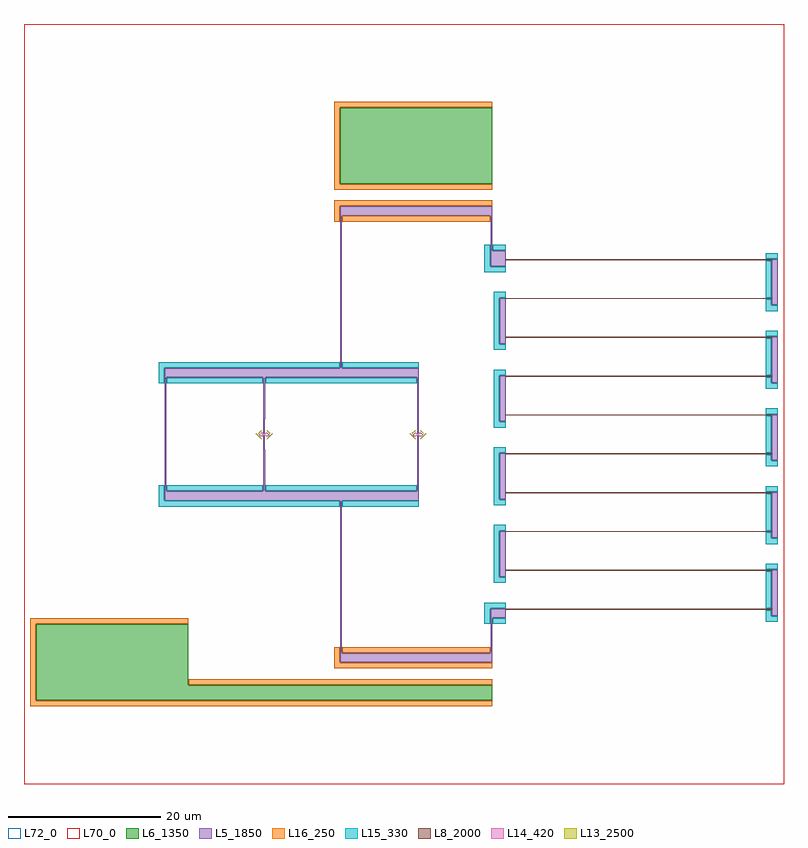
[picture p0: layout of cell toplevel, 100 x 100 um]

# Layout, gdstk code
from math import pi, radians
import gdstk
lib = gdstk.Library(unit=1e-6, precision=1e-09)
def R(c, l, rs):  # rectangles x0, y0, x1, y1
    for r in rs: c.add(gdstk.rectangle(r[:2], r[2:], *l))
def A(c, l, x, y, w, h, nx, ny, dx, dy):  # array of equal rectangles
    R(c, l, [(x+i*dx, y+j*dy, x+i*dx+w, y+j*dy+h) for i in range(nx) for j in range(ny)])
def P(c, l, *ps):  # polygons
    for p in ps: c.add(gdstk.Polygon(p, *l))
L5_1850 = (5, 1850)
L6_1350 = (6, 1350)
L8_2000 = (8, 2000)
L13_2500 = (13, 2500)
L14_420 = (14, 420)
L15_330 = (15, 330)
L16_250 = (16, 250)
L70_0 = (70, 0)
L72_0 = (72, 0)

rectangle059 = lib.new_cell('rectangle059')
R(rectangle059, L5_1850, [(0,0,0.2,1.8)])

jj_top = lib.new_cell('JJ Top')
jj_top.add(gdstk.Reference(rectangle059, (-0.1,0.2)))

rectangle060 = lib.new_cell('rectangle060')
R(rectangle060, L5_1850, [(0,0,0.2,1.8)])

jj_bot = lib.new_cell('JJ Bot')
jj_bot.add(gdstk.Reference(rectangle060, (-0.1,-2)))

rectangle061 = lib.new_cell('rectangle061')
R(rectangle061, L5_1850, [(0,0,0.22,5.5)])

top_arm = lib.new_cell('Top Arm')
top_arm.add(gdstk.Reference(rectangle061, (-0.11,2)))

rectangle062 = lib.new_cell('rectangle062')
R(rectangle062, L5_1850, [(0,0,0.22,5.5)])

bot_arm = lib.new_cell('Bot Arm')
bot_arm.add(gdstk.Reference(rectangle062, (-0.11,-7.5)))

junction = lib.new_cell('Junction')
junction.add(gdstk.Reference(jj_top, (0,0)))
junction.add(gdstk.Reference(jj_bot, (0,0)))
junction.add(gdstk.Reference(top_arm, (0,0)))
junction.add(gdstk.Reference(bot_arm, (0,0)))

rectangle063 = lib.new_cell('rectangle063')
P(rectangle063, L13_2500, [(0.376,0.563),(0.8,0.139),(0.736,0.075),(0.312,0.499)])

rectangle064 = lib.new_cell('rectangle064')
P(rectangle064, L13_2500, [(0.376,0.663),(1.1,-0.061),(1.036,-0.125),(0.312,0.599)])

boolean065 = lib.new_cell('boolean065')
P(boolean065, L14_420, [(-0.2,-0.125),(0.2,-0.125),(0.2,-0.25),(0.52,-0.25),(0.7,-0.07),(0.7,-0.03),(0.42,0.25),(0.2,0.25),(0.2,0.125),(-0.2,0.125),(-0.2,0.25),(-0.42,0.25),(-0.7,-0.03),(-0.7,-0.07),(-0.52,-0.25),(-0.2,-0.25)])

h_undercut_with_asymmetr = lib.new_cell('H undercut with asymmetric s')
h_undercut_with_asymmetr.add(gdstk.Reference(rectangle063, (0,0)))
h_undercut_with_asymmetr.add(gdstk.Reference(rectangle064, (0,0), x_reflection=True))
h_undercut_with_asymmetr.add(gdstk.Reference(rectangle063, (0,0), rotation=pi, x_reflection=True))
h_undercut_with_asymmetr.add(gdstk.Reference(rectangle064, (0,0), rotation=pi))
h_undercut_with_asymmetr.add(gdstk.Reference(boolean065, (0,0)))

josephson_junction = lib.new_cell('Josephson Junction')
josephson_junction.add(gdstk.Reference(junction, (0,0)))
josephson_junction.add(gdstk.Reference(h_undercut_with_asymmetr, (0,0)))

rectangle068 = lib.new_cell('rectangle068')
R(rectangle068, L5_1850, [(0,0,0.2,1.8)])

jj_top067 = lib.new_cell('JJ Top067')
jj_top067.add(gdstk.Reference(rectangle068, (-0.1,0.2)))

rectangle070 = lib.new_cell('rectangle070')
R(rectangle070, L5_1850, [(0,0,0.2,1.8)])

jj_bot069 = lib.new_cell('JJ Bot069')
jj_bot069.add(gdstk.Reference(rectangle070, (-0.1,-2)))

rectangle072 = lib.new_cell('rectangle072')
R(rectangle072, L5_1850, [(0,0,0.22,5.5)])

top_arm071 = lib.new_cell('Top Arm071')
top_arm071.add(gdstk.Reference(rectangle072, (-0.11,2)))

rectangle074 = lib.new_cell('rectangle074')
R(rectangle074, L5_1850, [(0,0,0.22,5.5)])

bot_arm073 = lib.new_cell('Bot Arm073')
bot_arm073.add(gdstk.Reference(rectangle074, (-0.11,-7.5)))

junction075 = lib.new_cell('Junction075')
junction075.add(gdstk.Reference(jj_top067, (0,0)))
junction075.add(gdstk.Reference(jj_bot069, (0,0)))
junction075.add(gdstk.Reference(top_arm071, (0,0)))
junction075.add(gdstk.Reference(bot_arm073, (0,0)))

rectangle077 = lib.new_cell('rectangle077')
P(rectangle077, L13_2500, [(0.376,0.563),(0.8,0.139),(0.736,0.075),(0.312,0.499)])

rectangle078 = lib.new_cell('rectangle078')
P(rectangle078, L13_2500, [(0.376,0.663),(1.1,-0.061),(1.036,-0.125),(0.312,0.599)])

boolean079 = lib.new_cell('boolean079')
P(boolean079, L14_420, [(-0.2,-0.125),(0.2,-0.125),(0.2,-0.25),(0.52,-0.25),(0.7,-0.07),(0.7,-0.03),(0.42,0.25),(0.2,0.25),(0.2,0.125),(-0.2,0.125),(-0.2,0.25),(-0.42,0.25),(-0.7,-0.03),(-0.7,-0.07),(-0.52,-0.25),(-0.2,-0.25)])

c_h_undercut_with_asymmetr = lib.new_cell('H undercut with asymmetric s076')
c_h_undercut_with_asymmetr.add(gdstk.Reference(rectangle077, (0,0)))
c_h_undercut_with_asymmetr.add(gdstk.Reference(rectangle078, (0,0), x_reflection=True))
c_h_undercut_with_asymmetr.add(gdstk.Reference(rectangle077, (0,0), rotation=pi, x_reflection=True))
c_h_undercut_with_asymmetr.add(gdstk.Reference(rectangle078, (0,0), rotation=pi))
c_h_undercut_with_asymmetr.add(gdstk.Reference(boolean079, (0,0)))

josephson_junction066 = lib.new_cell('Josephson Junction066')
josephson_junction066.add(gdstk.Reference(junction075, (0,0)))
josephson_junction066.add(gdstk.Reference(c_h_undercut_with_asymmetr, (0,0)))

rectangle080 = lib.new_cell('rectangle080')
R(rectangle080, L5_1850, [(0,0,20.44,1.2)])

island = lib.new_cell('Island')
island.add(gdstk.Reference(rectangle080, (0,0)))

top_island = lib.new_cell('Top island')
top_island.add(gdstk.Reference(island, (-0.11,7.5)))

rectangle082 = lib.new_cell('rectangle082')
R(rectangle082, L5_1850, [(0,0,20.44,1.2)])

island081 = lib.new_cell('Island081')
island081.add(gdstk.Reference(rectangle082, (0,0)))

bot_island = lib.new_cell('Bot island')
bot_island.add(gdstk.Reference(island081, (-0.11,-8.7)))

rectangle085 = lib.new_cell('rectangle085')
R(rectangle085, L5_1850, [(0,-20.1,0.22,0)])

connector084 = lib.new_cell('Connector084')
connector084.add(gdstk.Reference(rectangle085, (0,0)))

top_connector083 = lib.new_cell('Top connector083')
top_connector083.add(gdstk.Reference(connector084, (10,28.8)))

rectangle088 = lib.new_cell('rectangle088')
R(rectangle088, L5_1850, [(0,-20.1,0.22,0)])

connector087 = lib.new_cell('Connector087')
connector087.add(gdstk.Reference(rectangle088, (0,0)))

bot_connector086 = lib.new_cell('Bot connector086')
bot_connector086.add(gdstk.Reference(connector087, (10,-28.8), x_reflection=True))

rectangle089 = lib.new_cell('rectangle089')
R(rectangle089, L5_1850, [(0,0,13,1.2)])

rectangle090 = lib.new_cell('rectangle090')
R(rectangle090, L5_1850, [(0,-16.2,13,-15)])

rectangle091 = lib.new_cell('rectangle091')
R(rectangle091, L5_1850, [(0,-15,0.22,0)])

short = lib.new_cell('Short')
short.add(gdstk.Reference(rectangle089, (0,0)))
short.add(gdstk.Reference(rectangle090, (0,0)))
short.add(gdstk.Reference(rectangle091, (0,0)))

boolean094 = lib.new_cell('boolean094')
R(boolean094, L15_330, [(10.28,-9.5,20.33,-8.76), (-12.83,-7.44,-0.17,-6.7), (0.17,-7.44,20.05,-6.7), (-12.83,6.7,-0.17,7.44), (0.17,6.7,20.05,7.44), (10.28,8.76,20.33,9.5)])
P(boolean094, L15_330, [(-13.17,8.76),(9.94,8.76),(9.94,9.5),(-13.91,9.5),(-13.91,6.7),(-13.17,6.7)],
  [(-13.91,-6.7),(-13.91,-9.5),(9.94,-9.5),(9.94,-8.76),(-13.17,-8.76),(-13.17,-6.7)])

liftoff_undercut093 = lib.new_cell('Liftoff undercut093')
liftoff_undercut093.add(gdstk.Reference(boolean094, (0,0)))

liftoff_undercut092 = lib.new_cell('Liftoff undercut092')
liftoff_undercut092.add(gdstk.Reference(liftoff_undercut093, (0,0)))

squid = lib.new_cell('Squid')
squid.add(gdstk.Reference(josephson_junction, (-10.11,0)))
squid.add(gdstk.Reference(josephson_junction066, (10.11,0)))
squid.add(gdstk.Reference(top_island, (-10.11,0)))
squid.add(gdstk.Reference(bot_island, (-10.11,0)))
squid.add(gdstk.Reference(top_connector083, (-10.11,0)))
squid.add(gdstk.Reference(bot_connector086, (-10.11,0)))
squid.add(gdstk.Reference(short, (-23.22,7.5)))
squid.add(gdstk.Reference(liftoff_undercut092, (-10.11,0)))

rectangle098 = lib.new_cell('rectangle098')
R(rectangle098, L5_1850, [(-0.22,-4.66,0,0)])

rectangle097 = lib.new_cell('rectangle097')
R(rectangle097, L5_1850, [(-20,0,0,1.2)])

connector096 = lib.new_cell('Connector096')
connector096.add(gdstk.Reference(rectangle097, (0,0)))

boolean099 = lib.new_cell('boolean099')

rectangle101 = lib.new_cell('rectangle101')
R(rectangle101, L6_1350, [(-20,0,0,10)])

connector100 = lib.new_cell('Connector100')
connector100.add(gdstk.Reference(rectangle101, (0,4.2)))

boolean102 = lib.new_cell('boolean102')

undercut = lib.new_cell('Undercut')
undercut.add(gdstk.Reference(boolean102, (0,4.2)))

boolean103 = lib.new_cell('boolean103')

connector095 = lib.new_cell('Connector095')
connector095.add(gdstk.Reference(rectangle098, (19.89,28.8)))
connector095.add(gdstk.Reference(connector096, (19.89,28.8)))
connector095.add(gdstk.Reference(boolean099, (19.89,28.8)))
connector095.add(gdstk.Reference(connector100, (19.89,28.8)))
connector095.add(gdstk.Reference(undercut, (19.89,28.8)))
connector095.add(gdstk.Reference(boolean103, (0,0)))

rectangle107 = lib.new_cell('rectangle107')
R(rectangle107, L5_1850, [(-0.22,-4.66,0,0)])

rectangle106 = lib.new_cell('rectangle106')
R(rectangle106, L5_1850, [(-20,0,0,1.2)])

connector105 = lib.new_cell('Connector105')
connector105.add(gdstk.Reference(rectangle106, (0,0)))

boolean108 = lib.new_cell('boolean108')

rectangle110 = lib.new_cell('rectangle110')
R(rectangle110, L6_1350, [(-40,0,0,2)])

connector109 = lib.new_cell('Connector109')
connector109.add(gdstk.Reference(rectangle110, (0,4.2)))

boolean112 = lib.new_cell('boolean112')

undercut111 = lib.new_cell('Undercut111')
undercut111.add(gdstk.Reference(boolean112, (0,4.2)))

rectangle114 = lib.new_cell('rectangle114')
R(rectangle114, L6_1350, [(-20,0,0,10)])

connector113 = lib.new_cell('Connector113')
connector113.add(gdstk.Reference(rectangle114, (0,0)))

boolean116 = lib.new_cell('boolean116')

undercut115 = lib.new_cell('Undercut115')
undercut115.add(gdstk.Reference(boolean116, (0,0)))

bot_overlap_box = lib.new_cell('Bot Overlap Box')
bot_overlap_box.add(gdstk.Reference(connector113, (-40,-3.8)))
bot_overlap_box.add(gdstk.Reference(undercut115, (-40,-3.8)))

boolean117 = lib.new_cell('boolean117')

connector104 = lib.new_cell('Connector104')
connector104.add(gdstk.Reference(rectangle107, (19.89,28.8)))
connector104.add(gdstk.Reference(connector105, (19.89,28.8)))
connector104.add(gdstk.Reference(boolean108, (19.89,28.8)))
connector104.add(gdstk.Reference(connector109, (19.89,28.8)))
connector104.add(gdstk.Reference(undercut111, (19.89,28.8)))
connector104.add(gdstk.Reference(bot_overlap_box, (19.89,28.8)))
connector104.add(gdstk.Reference(boolean117, (0,0)))

rectangle020 = lib.new_cell('rectangle020')
R(rectangle020, L5_1850, [(0,0,0.8,5.22)])

rectangle021 = lib.new_cell('rectangle021')
R(rectangle021, L5_1850, [(0,-0.8,0.8,0)])

arm_connector = lib.new_cell('Arm connector')
arm_connector.add(gdstk.Reference(rectangle020, (-0.8,-10.22)))
arm_connector.add(gdstk.Reference(rectangle021, (-0.8,-10.22)))

rectangle023 = lib.new_cell('rectangle023')
R(rectangle023, L5_1850, [(0,0,0.8,5.22)])

rectangle024 = lib.new_cell('rectangle024')
R(rectangle024, L5_1850, [(0,-0.8,0.8,0)])

arm_connector022 = lib.new_cell('Arm connector022')
arm_connector022.add(gdstk.Reference(rectangle023, (-0.8,-20.44)))
arm_connector022.add(gdstk.Reference(rectangle024, (-0.8,-20.44)))

rectangle026 = lib.new_cell('rectangle026')
R(rectangle026, L5_1850, [(0,0,0.8,5.22)])

rectangle027 = lib.new_cell('rectangle027')
R(rectangle027, L5_1850, [(0,-0.8,0.8,0)])

arm_connector025 = lib.new_cell('Arm connector025')
arm_connector025.add(gdstk.Reference(rectangle026, (-0.8,-30.66)))
arm_connector025.add(gdstk.Reference(rectangle027, (-0.8,-30.66)))

rectangle029 = lib.new_cell('rectangle029')
R(rectangle029, L5_1850, [(0,0,0.8,5.22)])

rectangle030 = lib.new_cell('rectangle030')
R(rectangle030, L5_1850, [(0,-0.8,0.8,0)])

arm_connector028 = lib.new_cell('Arm connector028')
arm_connector028.add(gdstk.Reference(rectangle029, (-0.8,-40.88)))
arm_connector028.add(gdstk.Reference(rectangle030, (-0.8,-40.88)))

rectangle035 = lib.new_cell('rectangle035')
R(rectangle035, L5_1850, [(0,0,0.8,5.22)])

rectangle036 = lib.new_cell('rectangle036')
R(rectangle036, L5_1850, [(0,-0.8,0.8,0)])

arm_connector034 = lib.new_cell('Arm connector034')
arm_connector034.add(gdstk.Reference(rectangle035, (35,-5.11)))
arm_connector034.add(gdstk.Reference(rectangle036, (35,-5.11)))

rectangle039 = lib.new_cell('rectangle039')
R(rectangle039, L5_1850, [(0,0,0.8,5.22)])

rectangle040 = lib.new_cell('rectangle040')
R(rectangle040, L5_1850, [(0,-0.8,0.8,0)])

arm_connector038 = lib.new_cell('Arm connector038')
arm_connector038.add(gdstk.Reference(rectangle039, (35,-15.33)))
arm_connector038.add(gdstk.Reference(rectangle040, (35,-15.33)))

rectangle043 = lib.new_cell('rectangle043')
R(rectangle043, L5_1850, [(0,0,0.8,5.22)])

rectangle044 = lib.new_cell('rectangle044')
R(rectangle044, L5_1850, [(0,-0.8,0.8,0)])

arm_connector042 = lib.new_cell('Arm connector042')
arm_connector042.add(gdstk.Reference(rectangle043, (35,-25.55)))
arm_connector042.add(gdstk.Reference(rectangle044, (35,-25.55)))

rectangle047 = lib.new_cell('rectangle047')
R(rectangle047, L5_1850, [(0,0,0.8,5.22)])

rectangle048 = lib.new_cell('rectangle048')
R(rectangle048, L5_1850, [(0,-0.8,0.8,0)])

arm_connector046 = lib.new_cell('Arm connector046')
arm_connector046.add(gdstk.Reference(rectangle047, (35,-35.77)))
arm_connector046.add(gdstk.Reference(rectangle048, (35,-35.77)))

rectangle051 = lib.new_cell('rectangle051')
R(rectangle051, L5_1850, [(0,0,0.8,5.22)])

rectangle052 = lib.new_cell('rectangle052')
R(rectangle052, L5_1850, [(0,-0.8,0.8,0)])

arm_connector050 = lib.new_cell('Arm connector050')
arm_connector050.add(gdstk.Reference(rectangle051, (35,-45.99)))
arm_connector050.add(gdstk.Reference(rectangle052, (35,-45.99)))

arms = lib.new_cell('Arms')
arms.add(gdstk.Reference(arm_connector, (0,0)))
arms.add(gdstk.Reference(arm_connector022, (0,0)))
arms.add(gdstk.Reference(arm_connector025, (0,0)))
arms.add(gdstk.Reference(arm_connector028, (0,0)))
arms.add(gdstk.Reference(arm_connector034, (0,0)))
arms.add(gdstk.Reference(arm_connector038, (0,0)))
arms.add(gdstk.Reference(arm_connector042, (0,0)))
arms.add(gdstk.Reference(arm_connector046, (0,0)))
arms.add(gdstk.Reference(arm_connector050, (0,0)))

rectangle = lib.new_cell('rectangle')
R(rectangle, L8_2000, [(0,0,35,0.11)])

resistive_segment = lib.new_cell('Resistive segment')
resistive_segment.add(gdstk.Reference(rectangle, (0,0)))

rectangle003 = lib.new_cell('rectangle003')
R(rectangle003, L8_2000, [(0,0,35,0.11)])

resistive_segment002 = lib.new_cell('Resistive segment002')
resistive_segment002.add(gdstk.Reference(rectangle003, (0,-5.11)))

rectangle005 = lib.new_cell('rectangle005')
R(rectangle005, L8_2000, [(0,0,35,0.11)])

resistive_segment004 = lib.new_cell('Resistive segment004')
resistive_segment004.add(gdstk.Reference(rectangle005, (0,-10.22)))

rectangle007 = lib.new_cell('rectangle007')
R(rectangle007, L8_2000, [(0,0,35,0.11)])

resistive_segment006 = lib.new_cell('Resistive segment006')
resistive_segment006.add(gdstk.Reference(rectangle007, (0,-15.33)))

rectangle009 = lib.new_cell('rectangle009')
R(rectangle009, L8_2000, [(0,0,35,0.11)])

resistive_segment008 = lib.new_cell('Resistive segment008')
resistive_segment008.add(gdstk.Reference(rectangle009, (0,-20.44)))

rectangle011 = lib.new_cell('rectangle011')
R(rectangle011, L8_2000, [(0,0,35,0.11)])

resistive_segment010 = lib.new_cell('Resistive segment010')
resistive_segment010.add(gdstk.Reference(rectangle011, (0,-25.55)))

rectangle013 = lib.new_cell('rectangle013')
R(rectangle013, L8_2000, [(0,0,35,0.11)])

resistive_segment012 = lib.new_cell('Resistive segment012')
resistive_segment012.add(gdstk.Reference(rectangle013, (0,-30.66)))

rectangle015 = lib.new_cell('rectangle015')
R(rectangle015, L8_2000, [(0,0,35,0.11)])

resistive_segment014 = lib.new_cell('Resistive segment014')
resistive_segment014.add(gdstk.Reference(rectangle015, (0,-35.77)))

rectangle017 = lib.new_cell('rectangle017')
R(rectangle017, L8_2000, [(0,0,35,0.11)])

resistive_segment016 = lib.new_cell('Resistive segment016')
resistive_segment016.add(gdstk.Reference(rectangle017, (0,-40.88)))

rectangle019 = lib.new_cell('rectangle019')
R(rectangle019, L8_2000, [(0,0,35,0.11)])

resistive_segment018 = lib.new_cell('Resistive segment018')
resistive_segment018.add(gdstk.Reference(rectangle019, (0,-45.99)))

resistive_segments = lib.new_cell('Resistive segments')
resistive_segments.add(gdstk.Reference(resistive_segment, (0,0)))
resistive_segments.add(gdstk.Reference(resistive_segment002, (0,0)))
resistive_segments.add(gdstk.Reference(resistive_segment004, (0,0)))
resistive_segments.add(gdstk.Reference(resistive_segment006, (0,0)))
resistive_segments.add(gdstk.Reference(resistive_segment008, (0,0)))
resistive_segments.add(gdstk.Reference(resistive_segment010, (0,0)))
resistive_segments.add(gdstk.Reference(resistive_segment012, (0,0)))
resistive_segments.add(gdstk.Reference(resistive_segment014, (0,0)))
resistive_segments.add(gdstk.Reference(resistive_segment016, (0,0)))
resistive_segments.add(gdstk.Reference(resistive_segment018, (0,0)))

boolean = lib.new_cell('boolean')

boolean031 = lib.new_cell('boolean031')

boolean032 = lib.new_cell('boolean032')

boolean033 = lib.new_cell('boolean033')

boolean037 = lib.new_cell('boolean037')

boolean041 = lib.new_cell('boolean041')

boolean045 = lib.new_cell('boolean045')

boolean049 = lib.new_cell('boolean049')

boolean053 = lib.new_cell('boolean053')

boolean058 = lib.new_cell('boolean058')

liftoff_undercut = lib.new_cell('Liftoff undercut')
liftoff_undercut.add(gdstk.Reference(boolean, (0,0)))
liftoff_undercut.add(gdstk.Reference(boolean031, (0,0)))
liftoff_undercut.add(gdstk.Reference(boolean032, (0,0)))
liftoff_undercut.add(gdstk.Reference(boolean033, (0,0)))
liftoff_undercut.add(gdstk.Reference(boolean037, (0,0)))
liftoff_undercut.add(gdstk.Reference(boolean041, (0,0)))
liftoff_undercut.add(gdstk.Reference(boolean045, (0,0)))
liftoff_undercut.add(gdstk.Reference(boolean049, (0,0)))
liftoff_undercut.add(gdstk.Reference(boolean053, (0,0)))
liftoff_undercut.add(gdstk.Reference(boolean058, (0,0)))

rectangle054 = lib.new_cell('rectangle054')
R(rectangle054, L5_1850, [(-2,0,0,1.2)])

connector = lib.new_cell('Connector')
connector.add(gdstk.Reference(rectangle054, (0,0)))

rectangle055 = lib.new_cell('rectangle055')
R(rectangle055, L5_1850, [(-2,-0.8,0,0)])

top_connector = lib.new_cell('Top connector')
top_connector.add(gdstk.Reference(connector, (0,0)))
top_connector.add(gdstk.Reference(rectangle055, (0,0)))

rectangle057 = lib.new_cell('rectangle057')
R(rectangle057, L5_1850, [(-2,0,0,1.2)])

connector056 = lib.new_cell('Connector056')
connector056.add(gdstk.Reference(rectangle057, (0,-47.08)))

bot_connector = lib.new_cell('Bot connector')
bot_connector.add(gdstk.Reference(connector056, (0,0)))

boolean118 = lib.new_cell('boolean118')
A(boolean118, L15_330, 55.87, -22.88, 0.74, 4.88, 1, 5, 0, 10.22)
A(boolean118, L15_330, 55.87, -17.77, 1.6, 0.74, 1, 5, 0, 10.22)
R(boolean118, L15_330, [(19.95,-24.94,21.67,-24.2), (19.95,24.2,21.67,24.94)])
P(boolean118, L15_330, [(18.87,24.94),(18.87,21.34),(21.67,21.34),(21.67,22.08),(19.61,22.08),(19.61,24.94)],
  [(21.67,11.86),(20.81,11.86),(20.81,18),(21.67,18),(21.67,18.74),(20.07,18.74),(20.07,11.12),(21.67,11.12)],
  [(57.47,16.97),(56.61,16.97),(56.61,17.77),(55.87,17.77),(55.87,16.23),(57.47,16.23)],
  [(21.67,1.64),(20.81,1.64),(20.81,7.78),(21.67,7.78),(21.67,8.52),(20.07,8.52),(20.07,0.9),(21.67,0.9)],
  [(57.47,6.75),(56.61,6.75),(56.61,7.55),(55.87,7.55),(55.87,6.01),(57.47,6.01)],
  [(21.67,-8.58),(20.81,-8.58),(20.81,-2.44),(21.67,-2.44),(21.67,-1.7),(20.07,-1.7),(20.07,-9.32),(21.67,-9.32)],
  [(57.47,-3.47),(56.61,-3.47),(56.61,-2.67),(55.87,-2.67),(55.87,-4.21),(57.47,-4.21)],
  [(21.67,-18.8),(20.81,-18.8),(20.81,-12.66),(21.67,-12.66),(21.67,-11.92),(20.07,-11.92),(20.07,-19.54),(21.67,-19.54)],
  [(57.47,-13.69),(56.61,-13.69),(56.61,-12.89),(55.87,-12.89),(55.87,-14.43),(57.47,-14.43)],
  [(21.67,-22.88),(21.67,-22.14),(18.87,-22.14),(18.87,-24.94),(19.61,-24.94),(19.61,-22.88)],
  [(57.47,-23.91),(56.61,-23.91),(56.61,-23.11),(55.87,-23.11),(55.87,-24.65),(57.47,-24.65)])

resistor = lib.new_cell('Resistor')
resistor.add(gdstk.Reference(arms, (21.67,22.94)))
resistor.add(gdstk.Reference(resistive_segments, (21.67,22.94)))
resistor.add(gdstk.Reference(liftoff_undercut, (21.67,22.94)))
resistor.add(gdstk.Reference(top_connector, (21.67,22.94)))
resistor.add(gdstk.Reference(bot_connector, (21.67,22.94)))
resistor.add(gdstk.Reference(boolean118, (0,0)))

boolean119 = lib.new_cell('boolean119')
R(boolean119, L16_250, [(-20.05,-32.94,19.89,-32.2), (0.17,-28.74,19.6,-28), (0.17,28,19.6,28.74)])
P(boolean119, L16_250, [(19.89,32.94),(-0.17,32.94),(-0.17,43.06),(19.89,43.06),(19.89,43.8),(-0.91,43.8),(-0.91,32.2),(19.89,32.2)],
  [(19.89,30.06),(19.89,30.8),(-0.91,30.8),(-0.91,28),(-0.17,28),(-0.17,30.06)],
  [(-40.17,-24.94),(-20.11,-24.94),(-20.11,-24.2),(-40.91,-24.2),(-40.91,-35.8),(19.89,-35.8),(19.89,-35.06),(-40.17,-35.06)],
  [(-0.91,-28),(-0.91,-30.8),(19.89,-30.8),(19.89,-30.06),(-0.17,-30.06),(-0.17,-28)])

rectangle121 = lib.new_cell('rectangle121')
R(rectangle121, L72_0, [(0,0,100,100)])

working_area = lib.new_cell('Working area')
working_area.add(gdstk.Reference(rectangle121, (-41.72,-46)))

rectangle120 = lib.new_cell('rectangle120')
R(rectangle120, L70_0, [(0,0,100,100)])

writefield = lib.new_cell('Writefield')
writefield.add(gdstk.Reference(rectangle120, (-41.72,-46)))

toplevel = lib.new_cell('toplevel')
toplevel.add(gdstk.Reference(squid, (0,0)))
toplevel.add(gdstk.Reference(connector095, (0,0)))
toplevel.add(gdstk.Reference(connector104, (0,0), x_reflection=True))
toplevel.add(gdstk.Reference(resistor, (0,0)))
toplevel.add(gdstk.Reference(boolean119, (0,0)))
toplevel.add(gdstk.Reference(working_area, (0,0)))
toplevel.add(gdstk.Reference(writefield, (0,0)))

lib.write_gds('toplevel.gds')
